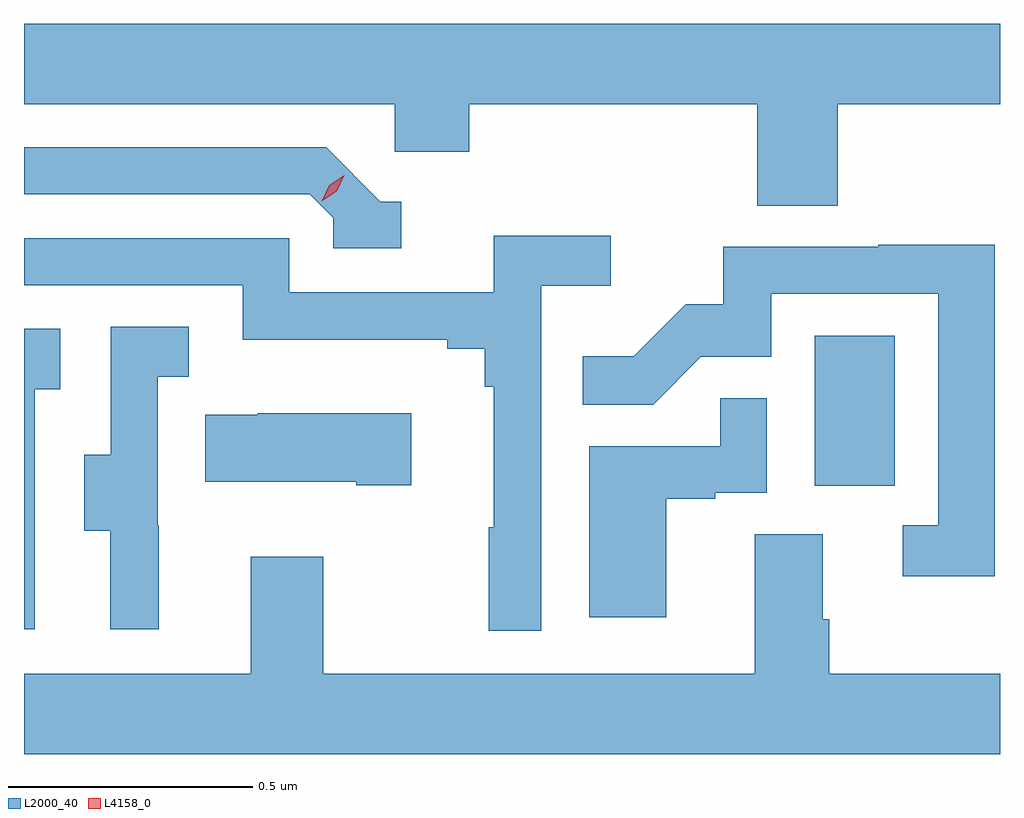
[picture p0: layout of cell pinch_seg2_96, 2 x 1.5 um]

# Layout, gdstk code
import gdstk
lib = gdstk.Library(unit=1e-6, precision=1e-09)
def R(c, l, rs):  # rectangles x0, y0, x1, y1
    for r in rs: c.add(gdstk.rectangle(r[:2], r[2:], *l))
def P(c, l, *ps):  # polygons
    for p in ps: c.add(gdstk.Polygon(p, *l))
L2000_40 = (2000, 40)
L4158_0 = (4158, 0)

pinch_seg2_96 = lib.new_cell('pinch_seg2_96')
R(pinch_seg2_96, L2000_40, [(1080.002,641.526,1080.166,641.833)])
P(pinch_seg2_96, L2000_40, [(1080.05,642.308),(1080.382,642.308),(1080.382,642.472),(1078.382,642.472),(1078.382,642.308),(1079.142,642.308),(1079.142,642.21),(1079.294,642.21),(1079.294,642.308),(1079.885,642.308),(1079.885,642.1),(1080.05,642.1)],
  [(1079.155,642.108),(1079.112,642.108),(1079.001,642.219),(1078.382,642.219),(1078.382,642.123),(1078.968,642.123),(1079.016,642.075),(1079.016,642.012),(1079.155,642.012)],
  [(1079.442,641.936),(1079.584,641.936),(1079.584,642.038),(1079.345,642.038),(1079.345,641.922),(1078.926,641.922),(1078.926,642.033),(1078.382,642.033),(1078.382,641.937),(1078.83,641.937),(1078.83,641.825),(1079.249,641.825),(1079.249,641.806),(1079.326,641.806),(1079.326,641.729),(1079.345,641.729),(1079.345,641.441),(1079.334,641.441),(1079.334,641.229),(1079.442,641.229)],
  [(1080.371,642.02),(1080.133,642.02),(1080.133,642.015),(1079.815,642.015),(1079.815,641.898),(1079.738,641.898),(1079.631,641.791),(1079.527,641.791),(1079.527,641.692),(1079.671,641.692),(1079.769,641.79),(1079.913,641.79),(1079.913,641.919),(1080.255,641.919),(1080.255,641.445),(1080.183,641.445),(1080.183,641.34),(1080.371,641.34)],
  [(1078.658,641.445),(1078.656,641.445),(1078.656,641.749),(1078.72,641.749),(1078.72,641.852),(1078.56,641.852),(1078.56,641.589),(1078.505,641.589),(1078.505,641.434),(1078.559,641.434),(1078.559,641.232),(1078.658,641.232)],
  [(1078.404,641.723),(1078.456,641.723),(1078.456,641.847),(1078.382,641.847),(1078.382,641.232),(1078.404,641.232)],
  [(1079.698,641.499),(1079.798,641.499),(1079.798,641.511),(1079.904,641.511),(1079.904,641.705),(1079.809,641.705),(1079.809,641.607),(1079.54,641.607),(1079.54,641.256),(1079.698,641.256)],
  [(1079.176,641.674),(1078.861,641.674),(1078.861,641.671),(1078.753,641.671),(1078.753,641.534),(1079.063,641.534),(1079.063,641.527),(1079.176,641.527)],
  [(1080.382,641.14),(1080.032,641.14),(1080.032,641.252),(1080.019,641.252),(1080.019,641.426),(1079.879,641.426),(1079.879,641.14),(1078.995,641.14),(1078.995,641.38),(1078.847,641.38),(1078.847,641.14),(1078.382,641.14),(1078.382,640.976),(1080.382,640.976)])
P(pinch_seg2_96, L4158_0, [(1078.992,642.109),(1078.992,642.109),(1079.008,642.142),(1079.038,642.162),(1079.038,642.162),(1079.038,642.162),(1079.023,642.129),(1078.992,642.109)])

lib.write_gds('pinch_seg2_96.gds')
